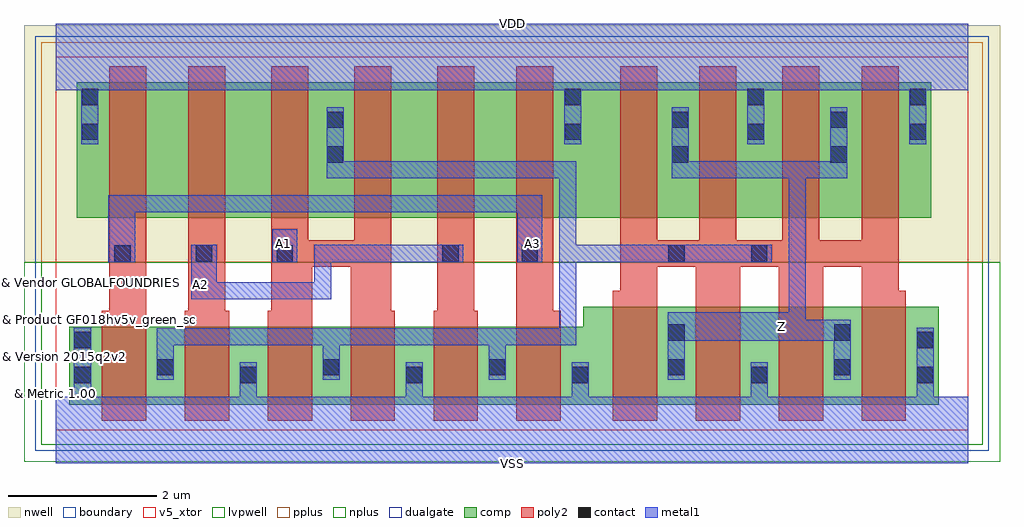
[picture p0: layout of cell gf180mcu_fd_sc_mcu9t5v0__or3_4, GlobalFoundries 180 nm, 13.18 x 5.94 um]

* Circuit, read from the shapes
.subckt gf180mcu_fd_sc_mcu9t5v0__or3_4 A1 A2 A3 VDD VSS Z
XM1 n1 A3 VSS VSUBS nfet_05v0 w=1.05u l=0.6u m=2
XM2 VSS A2 n1 VSUBS nfet_05v0 w=1.05u l=0.6u m=2
XM3 n1 A1 VSS VSUBS nfet_05v0 w=1.05u l=0.6u m=2
XM4 Z n1 VSS VSUBS nfet_05v0 w=1.32u l=0.6u m=4
XM5 n2 A3 VDD n3 pfet_05v0 w=1.83u l=0.5u
XM6 n4 A2 n2 n3 pfet_05v0 w=1.83u l=0.5u
XM7 n1 A1 n4 n3 pfet_05v0 w=1.83u l=0.5u
XM8 n5 A1 n1 n3 pfet_05v0 w=1.83u l=0.5u
XM9 n6 A2 n5 n3 pfet_05v0 w=1.83u l=0.5u
XM10 VDD A3 n6 n3 pfet_05v0 w=1.83u l=0.5u
XM11 Z n1 VDD n3 pfet_05v0 w=1.83u l=0.5u m=4
.ends

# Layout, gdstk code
import gdstk
lib = gdstk.Library(unit=1e-6, precision=1e-09)
def R(c, l, rs):  # rectangles x0, y0, x1, y1
    for r in rs: c.add(gdstk.rectangle(r[:2], r[2:], *l))
def A(c, l, x, y, w, h, nx, ny, dx, dy):  # array of equal rectangles
    R(c, l, [(x+i*dx, y+j*dy, x+i*dx+w, y+j*dy+h) for i in range(nx) for j in range(ny)])
def P(c, l, *ps):  # polygons
    for p in ps: c.add(gdstk.Polygon(p, *l))
boundary = (0, 0)
nwell = (21, 0)
comp = (22, 0)
poly2 = (30, 0)
pplus = (31, 0)
nplus = (32, 0)
contact = (33, 0)
metal1 = (34, 0)
dualgate = (55, 0)
v5_xtor = (112, 1)
lvpwell = (204, 0)

gf180mcu_fd_sc_mcu9t5v0_ = lib.new_cell('gf180mcu_fd_sc_mcu9t5v0__or3_4')
R(gf180mcu_fd_sc_mcu9t5v0_, boundary, [(0,0,12.32,5.04)])
R(gf180mcu_fd_sc_mcu9t5v0_, nwell, [(-0.43,2.265,12.75,5.47)])
R(gf180mcu_fd_sc_mcu9t5v0_, comp, [(0.28,2.865,11.82,4.695)])
P(gf180mcu_fd_sc_mcu9t5v0_, comp, [(0.18,0.345),(0.18,1.395),(7.12,1.395),(7.12,1.665),(11.92,1.665),(11.92,0.345)])
P(gf180mcu_fd_sc_mcu9t5v0_, poly2, [(0.62,0.125),(0.62,1.615),(0.72,1.615),(0.72,4.915),(1.22,4.915),(1.22,0.125)],
  [(1.74,0.125),(1.74,1.615),(1.79,1.615),(1.79,4.915),(2.29,4.915),(2.29,1.615),(2.34,1.615),(2.34,0.125)],
  [(2.86,0.125),(2.86,1.615),(2.91,1.615),(2.91,4.915),(3.41,4.915),(3.41,2.565),(4.03,2.565),(4.03,4.915),(4.53,4.915),(4.53,1.615),(4.58,1.615),(4.58,0.125),(3.98,0.125),(3.98,2.205),(3.46,2.205),(3.46,0.125)],
  [(5.1,0.125),(5.1,1.615),(5.15,1.615),(5.15,4.915),(5.65,4.915),(5.65,1.615),(5.7,1.615),(5.7,0.125)],
  [(6.22,0.125),(6.22,4.915),(6.72,4.915),(6.72,1.615),(6.82,1.615),(6.82,0.125)],
  [(7.52,0.125),(7.52,1.885),(7.62,1.885),(7.62,4.915),(8.12,4.915),(8.12,2.565),(8.69,2.565),(8.69,4.915),(9.19,4.915),(9.19,2.565),(9.81,2.565),(9.81,4.915),(10.31,4.915),(10.31,2.565),(10.88,2.565),(10.88,4.915),(11.38,4.915),(11.38,1.885),(11.48,1.885),(11.48,0.125),(10.88,0.125),(10.88,2.205),(10.36,2.205),(10.36,0.125),(9.76,0.125),(9.76,2.205),(9.24,2.205),(9.24,0.125),(8.64,0.125),(8.64,2.205),(8.12,2.205),(8.12,0.125)])
R(gf180mcu_fd_sc_mcu9t5v0_, pplus, [(-0.2,2.265,12.52,5.24)])
R(gf180mcu_fd_sc_mcu9t5v0_, nplus, [(-0.2,-0.2,12.52,2.265)])
A(gf180mcu_fd_sc_mcu9t5v0_, contact, 0.25, 0.635, 0.22, 0.22, 4, 1, 2.24, 0)
A(gf180mcu_fd_sc_mcu9t5v0_, contact, 1.37, 0.74, 0.22, 0.22, 3, 1, 2.24, 0)
R(gf180mcu_fd_sc_mcu9t5v0_, contact, [(9.39,0.635,9.61,0.855), (11.63,0.635,11.85,0.855), (8.27,0.74,8.49,0.96), (10.51,0.74,10.73,0.96), (0.25,1.105,0.47,1.325), (11.63,1.105,11.85,1.325), (8.27,1.21,8.49,1.43), (10.51,1.21,10.73,1.43), (0.79,2.275,1.01,2.495), (1.89,2.275,2.11,2.495), (2.98,2.275,3.2,2.495), (5.22,2.275,5.44,2.495), (6.29,2.275,6.51,2.495), (8.27,2.275,8.49,2.495), (9.39,2.275,9.61,2.495), (3.66,3.61,3.88,3.83), (8.32,3.61,8.54,3.83), (10.46,3.61,10.68,3.83), (0.35,3.92,0.57,4.14), (6.87,3.92,7.09,4.14), (9.34,3.92,9.56,4.14), (11.53,3.92,11.75,4.14), (3.66,4.08,3.88,4.3), (8.32,4.08,8.54,4.3), (10.46,4.08,10.68,4.3), (0.35,4.39,0.57,4.61), (6.87,4.39,7.09,4.61), (9.34,4.39,9.56,4.61), (11.53,4.39,11.75,4.61)])
R(gf180mcu_fd_sc_mcu9t5v0_, metal1, [(2.92,2.27,3.26,2.71)])
P(gf180mcu_fd_sc_mcu9t5v0_, metal1, [(1.83,1.77),(1.83,2.5),(2.17,2.5),(2.17,2),(3.49,2),(3.49,2.5),(5.5,2.5),(5.5,2.27),(3.72,2.27),(3.72,1.77)],
  [(0.71,2.27),(0.71,3.17),(6.57,3.17),(6.57,2.27),(6.23,2.27),(6.23,2.94),(1.07,2.94),(1.07,2.27)],
  [(1.365,0.68),(1.365,1.375),(6.8,1.375),(6.8,3.4),(3.655,3.4),(3.655,4.36),(3.885,4.36),(3.885,3.63),(7.03,3.63),(7.03,2.5),(9.67,2.5),(9.67,2.27),(7.03,2.27),(7.03,1.145),(6.075,1.145),(6.075,0.68),(5.845,0.68),(5.845,1.145),(3.835,1.145),(3.835,0.68),(3.605,0.68),(3.605,1.145),(1.595,1.145),(1.595,0.68)],
  [(8.265,0.68),(8.265,1.59),(9.9,1.59),(9.9,3.4),(8.315,3.4),(8.315,4.36),(8.545,4.36),(8.545,3.63),(10.455,3.63),(10.455,4.36),(10.685,4.36),(10.685,3.4),(10.13,3.4),(10.13,1.49),(10.735,1.49),(10.735,0.68),(10.505,0.68),(10.505,1.21),(8.495,1.21),(8.495,0.68)],
  [(0,-0.45),(0,0.45),(0.245,0.45),(0.245,1.385),(0.475,1.385),(0.475,0.45),(2.485,0.45),(2.485,0.915),(2.715,0.915),(2.715,0.45),(4.725,0.45),(4.725,0.915),(4.955,0.915),(4.955,0.45),(6.965,0.45),(6.965,0.915),(7.195,0.915),(7.195,0.45),(9.385,0.45),(9.385,0.915),(9.615,0.915),(9.615,0.45),(11.625,0.45),(11.625,1.385),(11.855,1.385),(11.855,0.45),(12.32,0.45),(12.32,-0.45)],
  [(0.345,3.86),(0.345,4.59),(0,4.59),(0,5.49),(12.32,5.49),(12.32,4.59),(11.755,4.59),(11.755,3.86),(11.525,3.86),(11.525,4.59),(9.565,4.59),(9.565,3.86),(9.335,3.86),(9.335,4.59),(7.095,4.59),(7.095,3.86),(6.865,3.86),(6.865,4.59),(0.575,4.59),(0.575,3.86)])
R(gf180mcu_fd_sc_mcu9t5v0_, dualgate, [(-0.28,-0.28,12.6,5.32)])
R(gf180mcu_fd_sc_mcu9t5v0_, v5_xtor, [(0,0,12.32,5.04)])
R(gf180mcu_fd_sc_mcu9t5v0_, lvpwell, [(-0.43,-0.43,12.75,2.265)])
gf180mcu_fd_sc_mcu9t5v0_.add(gdstk.Label('A1', (3.08,2.52), layer=34, texttype=10))
gf180mcu_fd_sc_mcu9t5v0_.add(gdstk.Label('A2', (1.96,1.96), layer=34, texttype=10))
gf180mcu_fd_sc_mcu9t5v0_.add(gdstk.Label('A3', (6.44,2.52), layer=34, texttype=10))
gf180mcu_fd_sc_mcu9t5v0_.add(gdstk.Label('VDD', (6.16,5.49), layer=34, texttype=10))
gf180mcu_fd_sc_mcu9t5v0_.add(gdstk.Label('VSS', (6.16,-0.45), layer=34, texttype=10))
gf180mcu_fd_sc_mcu9t5v0_.add(gdstk.Label('Z', (9.8,1.4), layer=34, texttype=10))
gf180mcu_fd_sc_mcu9t5v0_.add(gdstk.Label('& Vendor GLOBALFOUNDRIES', (0,2), layer=63, texttype=63))
gf180mcu_fd_sc_mcu9t5v0_.add(gdstk.Label('& Product GF018hv5v_green_sc9', (0,1.5), layer=63, texttype=63))
gf180mcu_fd_sc_mcu9t5v0_.add(gdstk.Label('& Version 2015q2v2', (0,1), layer=63, texttype=63))
gf180mcu_fd_sc_mcu9t5v0_.add(gdstk.Label('& Metric 1.00', (0,0.5), layer=63, texttype=63))

lib.write_gds('gf180mcu_fd_sc_mcu9t5v0__or3_4.gds')
